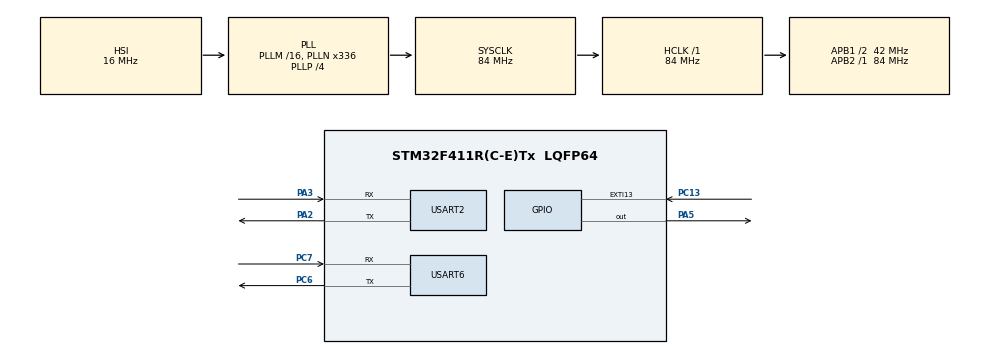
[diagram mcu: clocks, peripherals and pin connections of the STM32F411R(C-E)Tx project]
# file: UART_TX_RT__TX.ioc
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Mcu.Family=STM32F4
Mcu.Name=STM32F411R(C-E)Tx
Mcu.Package=LQFP64
NVIC.EXTI15_10_IRQn=true\:0\:0\:false\:false\:true\:true\:true\:true
NVIC.PriorityGroup=NVIC_PRIORITYGROUP_0
NVIC.USART2_IRQn=true\:0\:0\:false\:false\:true\:true\:true\:true
NVIC.USART6_IRQn=true\:0\:0\:false\:false\:true\:true\:true\:true
PA2.Mode=Asynchronous
PA2.Signal=USART2_TX
PA3.Mode=Asynchronous
PA3.Signal=USART2_RX
PA5.Signal=GPIO_Output
PC13-ANTI_TAMP.GPIO_ModeDefaultEXTI=GPIO_MODE_IT_FALLING
PC13-ANTI_TAMP.Signal=GPXTI13
PC14-OSC32_IN.Mode=LSE-External-Oscillator
PC14-OSC32_IN.Signal=RCC_OSC32_IN
PC15-OSC32_OUT.Mode=LSE-External-Oscillator
PC15-OSC32_OUT.Signal=RCC_OSC32_OUT
PC6.Mode=Asynchronous
PC6.Signal=USART6_TX
PC7.Mode=Asynchronous
PC7.Signal=USART6_RX
ProjectManager.HeapSize=0x200
ProjectManager.StackSize=0x400
ProjectManager.TargetToolchain=STM32CubeIDE
RCC.48MHZClocksFreq_Value=84000000
RCC.AHBFreq_Value=84000000
RCC.APB1CLKDivider=RCC_HCLK_DIV2
RCC.APB1Freq_Value=42000000
RCC.APB1TimFreq_Value=84000000
RCC.APB2Freq_Value=84000000
RCC.APB2TimFreq_Value=84000000
RCC.CortexFreq_Value=84000000
RCC.FLatency-AdvancedSettings=FLASH_LATENCY_2
RCC.HCLKFreq_Value=84000000
RCC.HSE_VALUE=8000000
RCC.HSI_VALUE=16000000
RCC.PLLN=336
RCC.PLLP=RCC_PLLP_DIV4
RCC.SYSCLKFreq_VALUE=84000000
RCC.SYSCLKSource=RCC_SYSCLKSOURCE_PLLCLK
RCC.VCOOutputFreq_Value=336000000
USART2.VirtualMode=VM_ASYNC
USART6.VirtualMode=VM_ASYNC
board=NUCLEO-F411RE

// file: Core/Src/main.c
/* USER CODE BEGIN Header */
/**
 ******************************************************************************
 * @file           : main.c
 * @brief          : Main program body
 ******************************************************************************
 * @attention
 *
 * Copyright (c) 2023 STMicroelectronics.
 * All rights reserved.
 *
 * Published By : Sandesh Kale
 * Github       : github/JAGAHPEE
 *
 * This software is licensed under terms that can be found in the LICENSE file
 * in the root directory of this software component.
 * If no LICENSE file comes with this software, it is provided AS-IS.
 *
 ******************************************************************************
 */
/* USER CODE END Header */
#include "main.h"

/* USER CODE BEGIN Includes */
#include<string.h>
/* USER CODE END Includes */

UART_HandleTypeDef huart2;
UART_HandleTypeDef huart6;

/* USER CODE BEGIN PV */
uint8_t inside[] = "\n\rInside Callback\n\r";
uint8_t led_on[] = "Led_Toggle\n\r";
uint8_t outside[] = "\n\rOutside Callback\n\r";
uint8_t buffer[15];
uint8_t name[] = "0Sandesh Kale1\n\r";
uint8_t acknoledge[] = "\n\rData Received\n\r";
/* USER CODE END PV */

void SystemClock_Config(void);
static void MX_GPIO_Init(void);
static void MX_USART2_UART_Init(void);
static void MX_USART6_UART_Init(void);

/* USER CODE BEGIN 0 */
uint8_t uart_transmit(uint8_t str[],uint8_t);
void HAL_UART_TxCpltCallback(UART_HandleTypeDef *huart)
{
	if(huart == &huart2)
	{
		HAL_UART_Transmit(&huart2, inside, sizeof(inside),HAL_MAX_DELAY);
		HAL_UART_Transmit(&huart2, led_on, sizeof(led_on),HAL_MAX_DELAY);
		HAL_UART_Transmit(&huart6, buffer, sizeof(buffer),HAL_MAX_DELAY);
		HAL_UART_Transmit(&huart2, buffer,  sizeof(buffer),HAL_MAX_DELAY);
		HAL_GPIO_TogglePin(GPIOA, GPIO_PIN_5);
		HAL_UART_Transmit(&huart2, acknoledge, sizeof(acknoledge),HAL_MAX_DELAY);
		HAL_UART_Transmit(&huart2, outside, sizeof(outside),HAL_MAX_DELAY);
	}
}
void HAL_UART_RxCpltCallback(UART_HandleTypeDef *huart)
{
	if(huart == &huart2)
	{
		HAL_UART_Transmit(&huart2, inside, sizeof(inside),HAL_MAX_DELAY);
		HAL_UART_Transmit(&huart2, led_on, sizeof(led_on),HAL_MAX_DELAY);
		HAL_UART_Transmit(&huart6, buffer, sizeof(buffer),HAL_MAX_DELAY);
		HAL_UART_Transmit(&huart2, buffer, sizeof(buffer),HAL_MAX_DELAY);
		HAL_GPIO_TogglePin(GPIOA, GPIO_PIN_5);
		HAL_UART_Transmit(&huart2, acknoledge, sizeof(acknoledge),HAL_MAX_DELAY);
		HAL_UART_Transmit(&huart2, outside, sizeof(outside),HAL_MAX_DELAY);
	}
}
void HAL_GPIO_EXTI_Callback(uint16_t GPIO_Pin)
{
	HAL_UART_Transmit(&huart2, inside, sizeof(inside),HAL_MAX_DELAY);
	HAL_UART_Transmit(&huart2, led_on, sizeof(led_on),HAL_MAX_DELAY);
	HAL_UART_Transmit(&huart6, name, sizeof(name),HAL_MAX_DELAY);
	HAL_GPIO_TogglePin(GPIOA, GPIO_PIN_5);
	HAL_UART_Transmit(&huart2, outside, sizeof(outside),HAL_MAX_DELAY);
}
/* USER CODE END 0 */

int main(void)
{

	/* MCU Configuration--------------------------------------------------------*/

	/* Reset of all peripherals, Initializes the Flash interface and the Systick. */
	HAL_Init();

	/* Configure the system clock */
	SystemClock_Config();

	/* Initialize all configured peripherals */
	MX_GPIO_Init();
	MX_USART2_UART_Init();
	MX_USART6_UART_Init();

	/* Infinite loop */
	while (1)
	{

		/* USER CODE BEGIN 3 */

		/* USER CODE END WHILE */

		/* USER CODE BEGIN 3 */
		//		HAL_UART_Receive(&huart2, buffer, sizeof(buffer), 10000);
		//		HAL_UART_Transmit_IT(&huart2, buffer, sizeof(buffer));
		uint8_t check = uart_transmit(buffer, sizeof(buffer));
		if(check!=0)
		{
			HAL_UART_Transmit_IT(&huart2, buffer, sizeof(buffer));
		}
		HAL_GPIO_TogglePin(GPIOA, GPIO_PIN_5);
		HAL_Delay(100);

	}
	/* USER CODE END 3 */
}

void SystemClock_Config(void)
{
	RCC_OscInitTypeDef RCC_OscInitStruct = {0};
	RCC_ClkInitTypeDef RCC_ClkInitStruct = {0};

	/** Configure the main internal regulator output voltage
	 */
	__HAL_RCC_PWR_CLK_ENABLE();
	__HAL_PWR_VOLTAGESCALING_CONFIG(PWR_REGULATOR_VOLTAGE_SCALE1);

	/** Initializes the RCC Oscillators according to the specified parameters
	 * in the RCC_OscInitTypeDef structure.
	 */
	RCC_OscInitStruct.OscillatorType = RCC_OSCILLATORTYPE_HSI;
	RCC_OscInitStruct.HSIState = RCC_HSI_ON;
	RCC_OscInitStruct.HSICalibrationValue = RCC_HSICALIBRATION_DEFAULT;
	RCC_OscInitStruct.PLL.PLLState = RCC_PLL_ON;
	RCC_OscInitStruct.PLL.PLLSource = RCC_PLLSOURCE_HSI;
	RCC_OscInitStruct.PLL.PLLM = 16;
	RCC_OscInitStruct.PLL.PLLN = 336;
	RCC_OscInitStruct.PLL.PLLP = RCC_PLLP_DIV4;
	RCC_OscInitStruct.PLL.PLLQ = 4;
	if (HAL_RCC_OscConfig(&RCC_OscInitStruct) != HAL_OK)
	{
		Error_Handler();
	}

	/** Initializes the CPU, AHB and APB buses clocks
	 */
	RCC_ClkInitStruct.ClockType = RCC_CLOCKTYPE_HCLK|RCC_CLOCKTYPE_SYSCLK
			|RCC_CLOCKTYPE_PCLK1|RCC_CLOCKTYPE_PCLK2;
	RCC_ClkInitStruct.SYSCLKSource = RCC_SYSCLKSOURCE_PLLCLK;
	RCC_ClkInitStruct.AHBCLKDivider = RCC_SYSCLK_DIV1;
	RCC_ClkInitStruct.APB1CLKDivider = RCC_HCLK_DIV2;
	RCC_ClkInitStruct.APB2CLKDivider = RCC_HCLK_DIV1;

	if (HAL_RCC_ClockConfig(&RCC_ClkInitStruct, FLASH_LATENCY_2) != HAL_OK)
	{
		Error_Handler();
	}
}

static void MX_USART2_UART_Init(void)
{

	huart2.Instance = USART2;
	huart2.Init.BaudRate = 115200;
	huart2.Init.WordLength = UART_WORDLENGTH_8B;
	huart2.Init.StopBits = UART_STOPBITS_1;
	huart2.Init.Parity = UART_PARITY_NONE;
	huart2.Init.Mode = UART_MODE_TX_RX;
	huart2.Init.HwFlowCtl = UART_HWCONTROL_NONE;
	huart2.Init.OverSampling = UART_OVERSAMPLING_16;
	if (HAL_UART_Init(&huart2) != HAL_OK)
	{
		Error_Handler();
	}

}

static void MX_USART6_UART_Init(void)
{

	huart6.Instance = USART6;
	huart6.Init.BaudRate = 115200;
	huart6.Init.WordLength = UART_WORDLENGTH_8B;
	huart6.Init.StopBits = UART_STOPBITS_1;
	huart6.Init.Parity = UART_PARITY_NONE;
	huart6.Init.Mode = UART_MODE_TX_RX;
	huart6.Init.HwFlowCtl = UART_HWCONTROL_NONE;
	huart6.Init.OverSampling = UART_OVERSAMPLING_16;
	if (HAL_UART_Init(&huart6) != HAL_OK)
	{
		Error_Handler();
	}

}

static void MX_GPIO_Init(void)
{
	GPIO_InitTypeDef GPIO_InitStruct = {0};

	/* GPIO Ports Clock Enable */
	__HAL_RCC_GPIOC_CLK_ENABLE();
	__HAL_RCC_GPIOA_CLK_ENABLE();

	/*Configure GPIO pin Output Level */
	HAL_GPIO_WritePin(GPIOA, GPIO_PIN_5, GPIO_PIN_RESET);

	/*Configure GPIO pin : PC13 */
	GPIO_InitStruct.Pin = GPIO_PIN_13;
	GPIO_InitStruct.Mode = GPIO_MODE_IT_FALLING;
	GPIO_InitStruct.Pull = GPIO_NOPULL;
	HAL_GPIO_Init(GPIOC, &GPIO_InitStruct);

	/*Configure GPIO pin : PA5 */
	GPIO_InitStruct.Pin = GPIO_PIN_5;
	GPIO_InitStruct.Mode = GPIO_MODE_OUTPUT_PP;
	GPIO_InitStruct.Pull = GPIO_NOPULL;
	GPIO_InitStruct.Speed = GPIO_SPEED_FREQ_LOW;
	HAL_GPIO_Init(GPIOA, &GPIO_InitStruct);

	/* EXTI interrupt init*/
	HAL_NVIC_SetPriority(EXTI15_10_IRQn, 0, 0);
	HAL_NVIC_EnableIRQ(EXTI15_10_IRQn);

}

/* USER CODE BEGIN 4 */
uint8_t uart_transmit(uint8_t str[],uint8_t s)
{
	HAL_UART_Transmit(&huart2, (uint8_t*)"\r\nReady to Receive: ", 19, 100);
	uint8_t check[1];
	HAL_UART_Receive(&huart2, check, 1, 10000);
	uint8_t i=0;
	if(check[0]=='0')
	{	uint8_t buff[1];
	while(buff[0]!='1' && i<s)
	{
		HAL_UART_Receive(&huart2, buff, 1,3000);
		str[i] = buff[0];
		i++;
	}
	str[i] = 13;
	return 1;
	}
	HAL_UART_Transmit(&huart2, (uint8_t*)"\r\nNo Data Received: ", 18, 100);
	return 0;

}
/* USER CODE END 4 */

void Error_Handler(void)
{
	__disable_irq();
	while (1)
	{
	}
}
